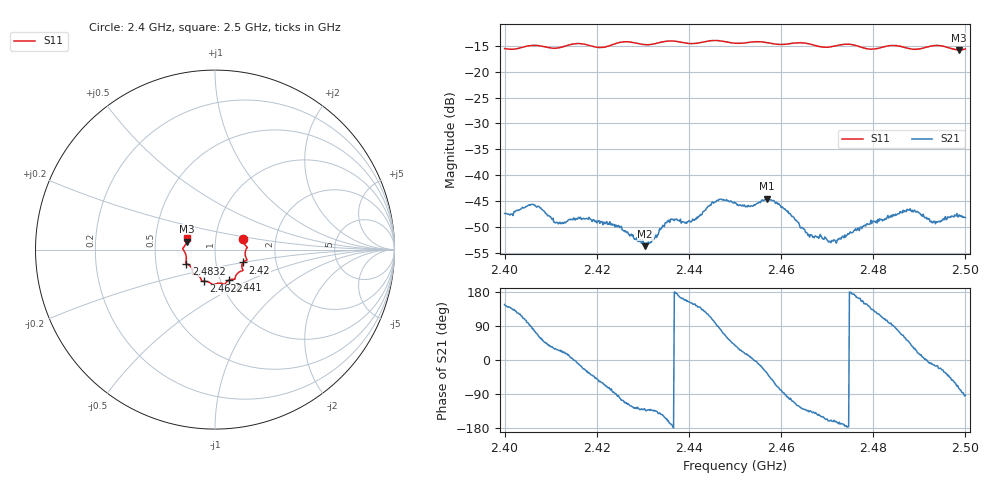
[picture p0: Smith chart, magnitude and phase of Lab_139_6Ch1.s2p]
# Hz S RI R 50
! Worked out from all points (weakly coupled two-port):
!   601 points, 2.4 GHz to 2.5 GHz, reference 50 ohm
!   highest |S21| = -44.51 dB at 2.457 GHz (marker M1); lowest = -53.7 dB at 2.4305 GHz (marker M2)
!   lowest |S11| = -15.8 dB at 2.4987 GHz (marker M3), VSWR 1.39, Z = 36.4 + j3.36 ohm
!   |S11| at or under -10 dB: start of sweep to end of sweep
!   S12 and S22 are empty: the file has one direction only
!   S11 on the Smith chart (normalised r, x): 2.4 GHz: 1.36, +0.17; 2.42 GHz: 1.36, -0.20; 2.441 GHz: 1.09, -0.39; 2.4622 GHz: 0.83, -0.30; 2.4832 GHz: 0.72, -0.12; 2.5 GHz: 0.73, +0.09
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2.4e9  0.1564 0.0599  -0.00357 0.00235  0 0  0 0
2.406e9  0.1792 0.0136  0.000703 0.00518  0 0  0 0
2.411167e9  0.1677 -0.0211  0.00304 0.00168  0 0  0 0
2.416667e9  0.1772 -0.0583  0.00356 -0.00109  0 0  0 0
2.42e9  0.1569 -0.0714  0.00223 -0.00265  0 0  0 0
2.424833e9  0.1552 -0.1117  -0.00044 -0.00321  0 0  0 0
2.4305e9  0.1297 -0.1284  -0.00135 -0.00156  0 0  0 0
2.433333e9  0.1131 -0.1524  -0.00209 -0.00165  0 0  0 0
2.435833e9  0.1109 -0.1646  -0.00342 -0.000766  0 0  0 0
2.441e9  0.0766 -0.1709  -0.00311 0.00199  0 0  0 0
2.4465e9  0.0504 -0.1931  0.00048 0.00577  0 0  0 0
2.45e9  0.0261 -0.1868  0.00419 0.00336  0 0  0 0
2.457e9  -0.0191 -0.1902  0.00486 -0.00344  0 0  0 0
2.462167e9  -0.0631 -0.1766  -0.000978 -0.00399  0 0  0 0
2.466667e9  -0.0767 -0.1665  -0.00194 -0.0018  0 0  0 0
2.471833e9  -0.1136 -0.137  -0.00219 -0.000723  0 0  0 0
2.483167e9  -0.1596 -0.0781  -0.000711 0.00401  0 0  0 0
2.483333e9  -0.1604 -0.0776  -0.0006 0.00381  0 0  0 0
2.487667e9  -0.1599 -0.0513  0.00305 0.00347  0 0  0 0
2.493e9  -0.1786 0.00273  0.00342 -0.000763  0 0  0 0
2.498667e9  -0.1562 0.045  0.00101 -0.00402  0 0  0 0
2.5e9  -0.1536 0.0632  -0.000221 -0.0039  0 0  0 0
